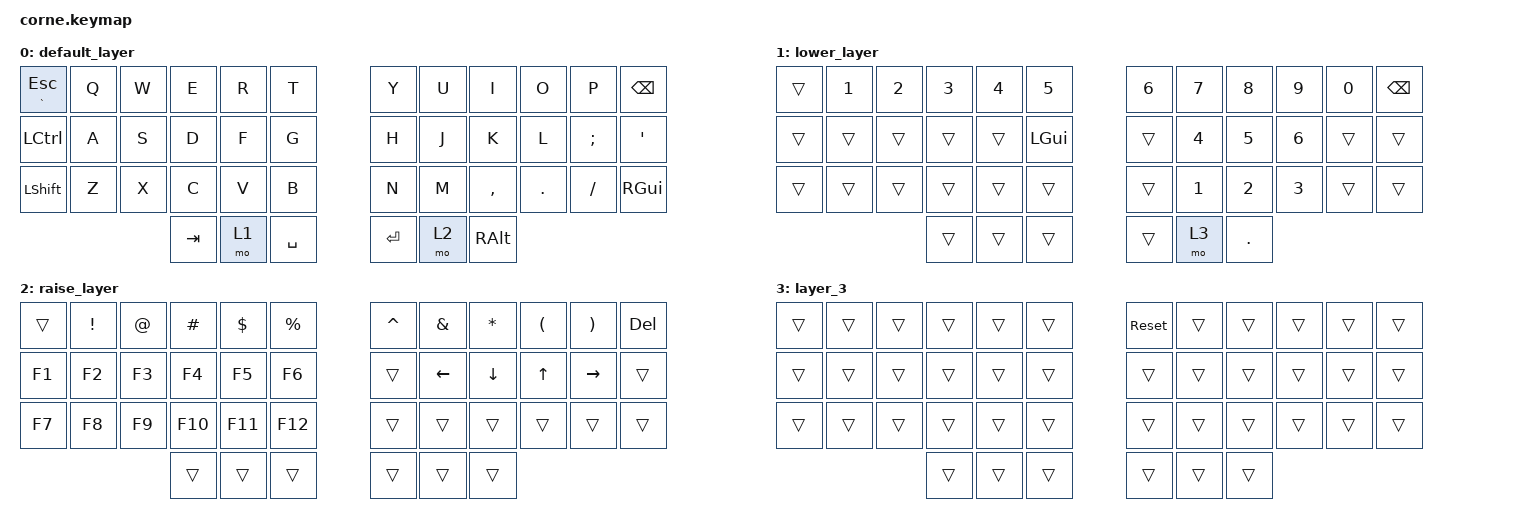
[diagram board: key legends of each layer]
#include <behaviors.dtsi>
#include <dt-bindings/zmk/keys.h>

/ {
    combos {
        compatible = "zmk,combos";

        carrot {
            bindings = <&kp CARET>;
            key-positions = <6 18>;
            layers = <0>;
        };

        underscore {
            bindings = <&kp UNDER>;
            key-positions = <9 21>;
            layers = <0>;
        };

        plus {
            bindings = <&kp PLUS>;
            key-positions = <9 10>;
            layers = <0>;
        };

        minus {
            bindings = <&kp MINUS>;
            key-positions = <22 21>;
            layers = <0>;
        };

        asterisk {
            bindings = <&kp ASTERISK>;
            key-positions = <8 20>;
            layers = <0>;
        };

        slash {
            bindings = <&kp SLASH>;
            key-positions = <20 19>;
            layers = <0>;
        };

        leftparenthesis {
            bindings = <&kp LEFT_PARENTHESIS>;
            key-positions = <5 4>;
            layers = <0>;
        };

        rightparenthesis {
            bindings = <&kp RIGHT_PARENTHESIS>;
            key-positions = <6 7>;
            layers = <0>;
        };

        rightbracket {
            bindings = <&kp RIGHT_BRACKET>;
            key-positions = <18 19>;
            layers = <0>;
        };

        leftbracket {
            bindings = <&kp LEFT_BRACKET>;
            key-positions = <17 16>;
            layers = <0>;
        };

        pipe {
            bindings = <&kp PIPE>;
            key-positions = <10 22>;
            layers = <0>;
        };

        ampersand {
            bindings = <&kp AMPERSAND>;
            key-positions = <7 19>;
            layers = <0>;
        };

        ScreenShot {
            bindings = <&kp LG(LS(S))>;
            key-positions = <11 23>;
            layers = <0>;
        };

        pound {
            bindings = <&kp POUND>;
            key-positions = <3 15>;
            layers = <0>;
        };

        backslash {
            bindings = <&kp BACKSLASH>;
            key-positions = <16 15>;
            layers = <0>;
        };

        equal {
            bindings = <&kp EQUAL>;
            key-positions = <33 34>;
            layers = <0>;
        };

        dollar {
            bindings = <&kp DOLLAR>;
            key-positions = <16 4>;
            layers = <0>;
        };

        percent {
            bindings = <&kp PERCENT>;
            key-positions = <5 17>;
            layers = <0>;
        };

        at {
            bindings = <&kp AT_SIGN>;
            key-positions = <14 2>;
            layers = <0>;
        };

        caps {
            bindings = <&kp CAPS>;
            key-positions = <23 35>;
            layers = <0>;
        };

        greater {
            bindings = <&kp GREATER_THAN>;
            key-positions = <31 32>;
            layers = <0>;
        };

        less {
            bindings = <&kp LESS_THAN>;
            key-positions = <27 28>;
            layers = <0>;
        };

        exclamation {
            bindings = <&kp EXCLAMATION>;
            key-positions = <1 13>;
            layers = <0>;
        };

        LBrace {
            bindings = <&kp LEFT_BRACE>;
            key-positions = <29 28>;
            layers = <0>;
        };

        RBrace {
            bindings = <&kp RIGHT_BRACE>;
            key-positions = <30 31>;
            layers = <0>;
        };
    };

    behaviors {
        HoldTapKpKp: HoldTapKpKp {
            compatible = "zmk,behavior-hold-tap";
            label = "HOLDTAPKPKP";
            bindings = <&kp>, <&kp>;

            #binding-cells = <2>;
            tapping-term-ms = <150>;
            flavor = "balanced";
        };
    };

    keymap {
        compatible = "zmk,keymap";

        default_layer {
            // -----------------------------------------------------------------------------------------
            // |  TAB |  Q  |  W  |  E  |  R  |  T  |   |  Y  |  U   |  I  |  O  |  P  | BSPC |
            // | CTRL |  A  |  S  |  D  |  F  |  G  |   |  H  |  J   |  K  |  L  |  ;  |  '   |
            // | SHFT |  Z  |  X  |  C  |  V  |  B  |   |  N  |  M   |  ,  |  .  |  /  | ESC  |
            //                    | GUI | LWR | SPC |   | ENT | RSE  | ALT |

            bindings = <
&mt GRAVE ESC  &kp Q  &kp W  &kp E    &kp R  &kp T        &kp Y    &kp U  &kp I          &kp O    &kp P     &kp BSPC
&kp LCTRL      &kp A  &kp S  &kp D    &kp F  &kp G        &kp H    &kp J  &kp K          &kp L    &kp SEMI  &kp SQT
&kp LSHFT      &kp Z  &kp X  &kp C    &kp V  &kp B        &kp N    &kp M  &kp COMMA      &kp DOT  &kp FSLH  &kp RIGHT_GUI
                             &kp TAB  &mo 1  &kp SPACE    &kp RET  &mo 2  &kp RIGHT_ALT
            >;
        };

        lower_layer {
            // -----------------------------------------------------------------------------------------
            // |  TAB |  1  |  2  |  3  |  4  |  5  |   |  6  |  7  |  8  |  9  |  0  | BSPC |
            // | BTCLR| BT1 | BT2 | BT3 | BT4 | BT5 |   | LFT | DWN |  UP | RGT |     |      |
            // | SHFT |     |     |     |     |     |   |     |     |     |     |     |      |
            //                    | GUI |     | SPC |   | ENT |     | ALT |

            bindings = <
&trans  &kp N1  &kp N2  &kp N3  &kp N4  &kp N5          &kp N6  &kp N7  &kp N8      &kp N9  &kp N0  &kp BSPC
&trans  &trans  &trans  &trans  &trans  &kp LEFT_GUI    &trans  &kp N4  &kp N5      &kp N6  &trans  &trans
&trans  &trans  &trans  &trans  &trans  &trans          &trans  &kp N1  &kp N2      &kp N3  &trans  &trans
                        &trans  &trans  &trans          &trans  &mo 3   &kp PERIOD
            >;
        };

        raise_layer {
            // -----------------------------------------------------------------------------------------
            // |  TAB |  !  |  @  |  #  |  $  |  %  |   |  ^  |  &  |  *  |  (  |  )  | BSPC |
            // | CTRL |     |     |     |     |     |   |  -  |  =  |  [  |  ]  |  \  |  `   |
            // | SHFT |     |     |     |     |     |   |  _  |  +  |  {  |  }  | "|" |  ~   |
            //                    | GUI |     | SPC |   | ENT |     | ALT |

            bindings = <
&trans  &kp EXCL  &kp AT  &kp HASH  &kp DLLR  &kp PRCNT    &kp CARET  &kp AMPS  &kp ASTRK  &kp LPAR  &kp RPAR   &kp DEL
&kp F1  &kp F2    &kp F3  &kp F4    &kp F5    &kp F6       &trans     &kp LEFT  &kp DOWN   &kp UP    &kp RIGHT  &trans
&kp F7  &kp F8    &kp F9  &kp F10   &kp F11   &kp F12      &trans     &trans    &trans     &trans    &trans     &trans
                          &trans    &trans    &trans       &trans     &trans    &trans
            >;
        };

        layer_3 {
            bindings = <
&trans  &trans  &trans  &trans  &trans  &trans    &sys_reset  &trans  &trans  &trans  &trans  &trans
&trans  &trans  &trans  &trans  &trans  &trans    &trans      &trans  &trans  &trans  &trans  &trans
&trans  &trans  &trans  &trans  &trans  &trans    &trans      &trans  &trans  &trans  &trans  &trans
                        &trans  &trans  &trans    &trans      &trans  &trans
            >;
        };
    };
};
